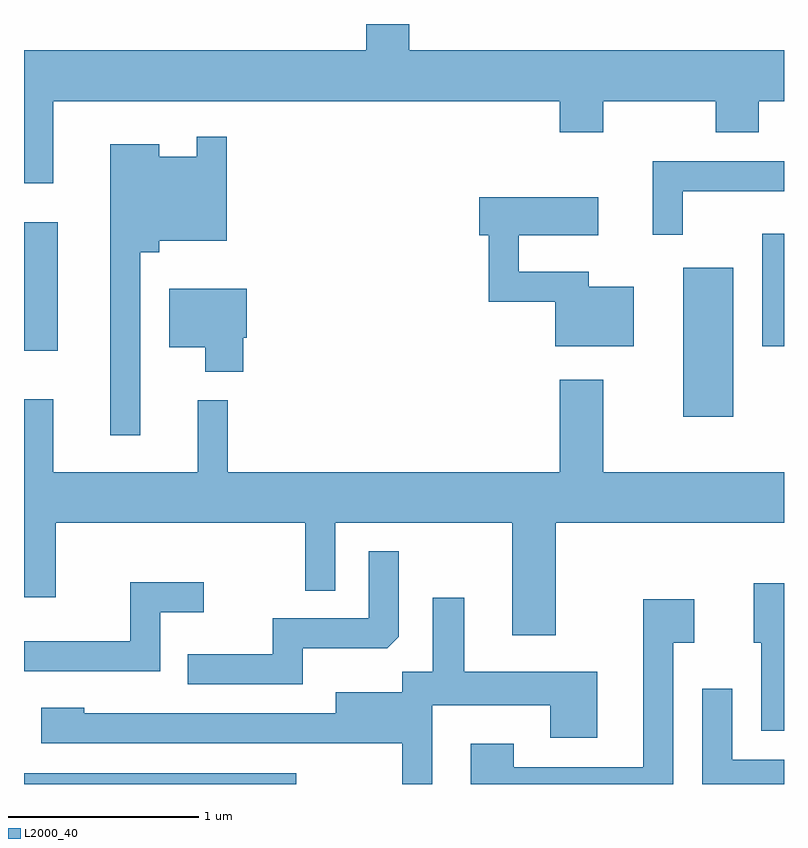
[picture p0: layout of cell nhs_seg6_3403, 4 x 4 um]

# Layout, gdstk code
import gdstk
lib = gdstk.Library(unit=1e-6, precision=1e-09)
def R(c, l, rs):  # rectangles x0, y0, x1, y1
    for r in rs: c.add(gdstk.rectangle(r[:2], r[2:], *l))
def P(c, l, *ps):  # polygons
    for p in ps: c.add(gdstk.Polygon(p, *l))
L2000_40 = (2000, 40)

nhs_seg6_3403 = lib.new_cell('nhs_seg6_3403')
R(nhs_seg6_3403, L2000_40, [(287.611,1604.162,289.044,1604.219), (291.081,1606.096,291.344,1606.879), (287.611,1606.441,287.789,1607.119), (291.496,1606.466,291.611,1607.059)])
P(nhs_seg6_3403, L2000_40, [(287.764,1607.756),(290.431,1607.756),(290.431,1607.591),(290.659,1607.591),(290.659,1607.756),(291.251,1607.756),(291.251,1607.591),(291.479,1607.591),(291.479,1607.756),(291.611,1607.756),(291.611,1608.024),(289.639,1608.024),(289.639,1608.162),(289.411,1608.162),(289.411,1608.024),(287.611,1608.024),(287.611,1607.323),(287.764,1607.323)],
  [(288.224,1606.961),(288.324,1606.961),(288.324,1607.021),(288.679,1607.021),(288.679,1607.568),(288.521,1607.568),(288.521,1607.464),(288.324,1607.464),(288.324,1607.529),(288.066,1607.529),(288.066,1605.998),(288.224,1605.998)],
  [(291.079,1607.281),(291.611,1607.281),(291.611,1607.439),(290.921,1607.439),(290.921,1607.053),(291.079,1607.053)],
  [(290.819,1606.779),(290.584,1606.779),(290.584,1606.859),(290.214,1606.859),(290.214,1607.051),(290.634,1607.051),(290.634,1607.249),(290.006,1607.249),(290.006,1607.051),(290.056,1607.051),(290.056,1606.701),(290.406,1606.701),(290.406,1606.466),(290.819,1606.466)],
  [(288.764,1606.511),(288.784,1606.511),(288.784,1606.769),(288.376,1606.769),(288.376,1606.461),(288.566,1606.461),(288.566,1606.331),(288.764,1606.331)],
  [(289.091,1605.178),(289.249,1605.178),(289.249,1605.536),(290.181,1605.536),(290.181,1604.946),(290.409,1604.946),(290.409,1605.536),(291.611,1605.536),(291.611,1605.804),(290.659,1605.804),(290.659,1606.289),(290.431,1606.289),(290.431,1605.804),(288.684,1605.804),(288.684,1606.183),(288.526,1606.183),(288.526,1605.804),(287.764,1605.804),(287.764,1606.188),(287.611,1606.188),(287.611,1605.146),(287.779,1605.146),(287.779,1605.536),(289.091,1605.536)],
  [(289.079,1604.876),(289.524,1604.876),(289.584,1604.937),(289.584,1605.388),(289.426,1605.388),(289.426,1605.034),(288.921,1605.034),(288.921,1604.844),(288.473,1604.844),(288.473,1604.686),(289.079,1604.686)],
  [(288.329,1605.066),(288.558,1605.066),(288.558,1605.224),(288.171,1605.224),(288.171,1604.914),(287.611,1604.914),(287.611,1604.756),(288.329,1604.756)],
  [(291.611,1605.219),(291.451,1605.219),(291.451,1604.906),(291.491,1604.906),(291.491,1604.441),(291.611,1604.441)],
  [(289.759,1604.576),(290.381,1604.576),(290.381,1604.406),(290.629,1604.406),(290.629,1604.754),(289.929,1604.754),(289.929,1605.143),(289.761,1605.143),(289.761,1604.754),(289.601,1604.754),(289.601,1604.644),(289.251,1604.644),(289.251,1604.534),(287.929,1604.534),(287.929,1604.564),(287.701,1604.564),(287.701,1604.376),(289.601,1604.376),(289.601,1604.162),(289.759,1604.162)],
  [(291.029,1604.906),(291.139,1604.906),(291.139,1605.134),(290.871,1605.134),(290.871,1604.249),(290.189,1604.249),(290.189,1604.374),(289.961,1604.374),(289.961,1604.162),(291.029,1604.162)],
  [(291.611,1604.289),(291.339,1604.289),(291.339,1604.663),(291.181,1604.663),(291.181,1604.162),(291.611,1604.162)])

lib.write_gds('nhs_seg6_3403.gds')
